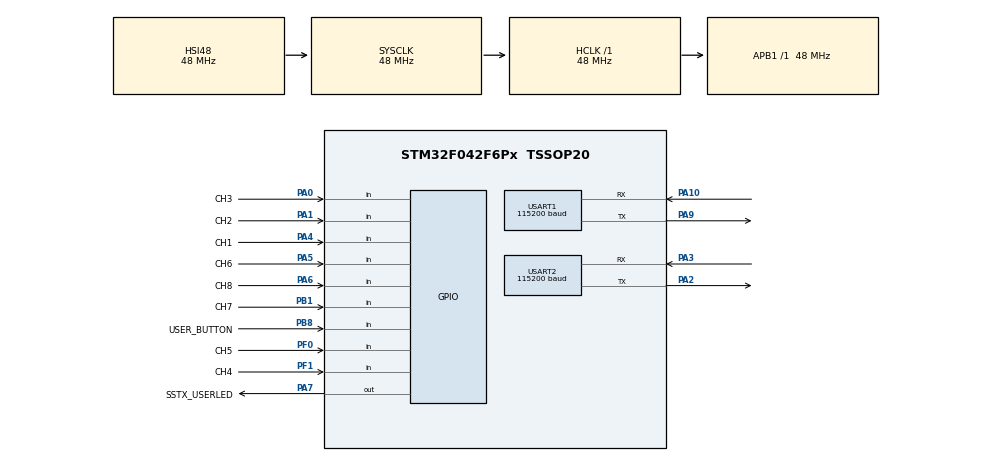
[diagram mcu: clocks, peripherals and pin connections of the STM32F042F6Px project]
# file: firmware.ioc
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Mcu.Family=STM32F0
Mcu.Name=STM32F042F6Px
Mcu.Package=TSSOP20
NVIC.TIM16_IRQn=true\:0\:0\:false\:false\:true\:true\:true\:true
NVIC.USART1_IRQn=true\:0\:0\:false\:false\:true\:true\:true\:true
NVIC.USART2_IRQn=true\:0\:0\:false\:false\:true\:true\:true\:true
PA0.GPIO_Label=CH3
PA0.GPIO_PuPd=GPIO_PULLUP
PA0.Signal=GPIO_Input
PA1.GPIO_Label=CH2
PA1.GPIO_PuPd=GPIO_PULLUP
PA1.Signal=GPIO_Input
PA10.Mode=Asynchronous
PA10.Signal=USART1_RX
PA13.Mode=Serial_Wire
PA13.Signal=SYS_SWDIO
PA14.Mode=Serial_Wire
PA14.Signal=SYS_SWCLK
PA2.Mode=Asynchronous
PA2.Signal=USART2_TX
PA3.Mode=Asynchronous
PA3.Signal=USART2_RX
PA4.GPIO_Label=CH1
PA4.GPIO_PuPd=GPIO_PULLUP
PA4.Signal=GPIO_Input
PA5.GPIO_Label=CH6
PA5.GPIO_PuPd=GPIO_PULLUP
PA5.Signal=GPIO_Input
PA6.GPIO_Label=CH8
PA6.GPIO_PuPd=GPIO_PULLUP
PA6.Signal=GPIO_Input
PA7.GPIO_Label=SSTX_USERLED
PA7.Signal=GPIO_Output
PA9.Mode=Asynchronous
PA9.Signal=USART1_TX
PB1.GPIO_Label=CH7
PB1.GPIO_PuPd=GPIO_PULLUP
PB1.Signal=GPIO_Input
PB8.GPIO_Label=USER_BUTTON
PB8.Signal=GPIO_Input
PF0-OSC_IN.GPIO_Label=CH5
PF0-OSC_IN.GPIO_PuPd=GPIO_PULLUP
PF0-OSC_IN.Signal=GPIO_Input
PF1-OSC_OUT.GPIO_Label=CH4
PF1-OSC_OUT.GPIO_PuPd=GPIO_PULLUP
PF1-OSC_OUT.Signal=GPIO_Input
ProjectManager.HeapSize=0x200
ProjectManager.StackSize=0x400
ProjectManager.TargetToolchain=MDK-ARM V5.32
RCC.AHBFreq_Value=48000000
RCC.APB1Freq_Value=48000000
RCC.APB1TimFreq_Value=48000000
RCC.HCLKFreq_Value=48000000
RCC.PLLSourceVirtual=RCC_PLLSOURCE_HSI48
RCC.SYSCLKFreq_VALUE=48000000
RCC.SYSCLKSource=RCC_SYSCLKSOURCE_HSI48
TIM16.Period=25000
TIM16.Prescaler=47
TIM2.Prescaler=47
USART1.BaudRate=115200
USART1.VirtualMode=VM_ASYNC
USART2.BaudRate=115200
USART2.VirtualMode-Asynchronous=VM_ASYNC
VP_TIM16_VS_ClockSourceINT.Mode=Enable_Timer
VP_TIM2_VS_ClockSourceINT.Mode=Internal
board=custom

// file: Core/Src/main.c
/* USER CODE BEGIN Header */
/**
  ******************************************************************************
  * @file           : main.c
  * @brief          : Main program body
  ******************************************************************************
  * @attention
  *
  * Copyright (c) 2023 STMicroelectronics.
  * All rights reserved.
  *
  * This software is licensed under terms that can be found in the LICENSE file
  * in the root directory of this software component.
  * If no LICENSE file comes with this software, it is provided AS-IS.
  *
  ******************************************************************************
  */
/* USER CODE END Header */
#include "main.h"

/* USER CODE BEGIN Includes */
#include <stdio.h>
#include <string.h>
#include <stdlib.h>
#include <time.h>
#include "buttons.h"
#include "cQueue.h"
#include "softserial.h"
#include "delay_us.h"

/* USER CODE END Includes */

/* USER CODE BEGIN PTD */
int stdin_getchar (void)
{
  return 0;
}

int stdout_putchar (int ch) {
  return 0;
}
void ttywrch (int ch) {
  return;
}
/* USER CODE END PTD */

/* USER CODE BEGIN PD */

/*
2024 08 12
0.0.1
first commit

2024 10 15
0.1.0
8 channels
LED double blinks with button press and upstream receive
*/
uint8_t fw_version_major = 0;
uint8_t fw_version_minor = 1;
uint8_t fw_version_patch = 0;

#define UART_BUF_SIZE 16

uint8_t towards_duckypad_tx_buf[UART_BUF_SIZE];
uint8_t towards_duckypad_rx_buf[UART_BUF_SIZE];
uint8_t away_from_duckypad_tx_buf[UART_BUF_SIZE];
uint8_t away_from_duckypad_rx_buf[UART_BUF_SIZE];

uint8_t starting_id;

volatile uint8_t current_state;

/* USER CODE END PD */

/* USER CODE BEGIN PM */
#define LED_ON() HAL_GPIO_WritePin(SSTX_USERLED_GPIO_Port, SSTX_USERLED_Pin, GPIO_PIN_SET)
#define LED_OFF() HAL_GPIO_WritePin(SSTX_USERLED_GPIO_Port, SSTX_USERLED_Pin, GPIO_PIN_RESET)
#define STATE_UNINITIALIZED 0
#define STATE_READY 1
/* USER CODE END PM */

TIM_HandleTypeDef htim2;
TIM_HandleTypeDef htim16;

UART_HandleTypeDef huart1;
UART_HandleTypeDef huart2;

/* USER CODE BEGIN PV */

#define towards_duckypad_uart (huart1)
#define away_from_duckypad_uart (huart2)

int fputc(int ch, FILE *f)
{
  // __disable_irq();
  // softserial_putc(ch);
  // __enable_irq();
  return ch;
}

void towards_duckypad_send(uint8_t data)
{
  HAL_UART_Transmit(&towards_duckypad_uart, &data, 1, 100);
  // printf("TDS:%02x\n", data);
}

void away_from_duckypad_send(uint8_t data)
{
  HAL_UART_Transmit(&away_from_duckypad_uart, &data, 1, 100);
  // printf("AFDS:%02x\n", data);
}

/* USER CODE END PV */

void SystemClock_Config(void);
static void MX_GPIO_Init(void);
static void MX_USART2_UART_Init(void);
static void MX_TIM2_Init(void);
static void MX_TIM16_Init(void);
static void MX_USART1_UART_Init(void);

/* USER CODE BEGIN 0 */

volatile uint32_t global_frame;
volatile uint32_t animation_start_frame;

void animation_handler(void)
{
  if(current_state != STATE_READY)
    return;
  global_frame++;
  uint32_t current_frame = global_frame - animation_start_frame;
  if(current_frame <= 2)
    LED_OFF();
  else if(current_frame <= 4)
    LED_ON();
  else if(current_frame <= 6)
    LED_OFF();
  else
    LED_ON();
}

// happens every 25ms
void HAL_TIM_PeriodElapsedCallback(TIM_HandleTypeDef *htim)
{
  animation_handler();
  channel_update(starting_id);
}

void double_blink(void)
{
  animation_start_frame = global_frame;
}

uint32_t get_rand_delay_ms(void)
{
  srand(micros());
  return 50 + (rand() % 16) * 10;
}

#define TOP_TWO_BITS 0xc0
#define CMD_ASK_START_ID_BITMASK 0x0
#define CMD_ASSIGN_START_ID_BITMASK 0x40

void towards_duckypad_receive_parse(uint8_t this_cmd)
{
  // printf("TDR:%02x\n", this_cmd);
  if(this_cmd & CMD_ASSIGN_START_ID_BITMASK)
  {
    starting_id = towards_duckypad_rx_buf[0] & 0x3f;
    current_state = STATE_READY;
    LED_ON();
    // printf("Got ID: %x\n", starting_id);
  }
}

void away_from_duckypad_receive_parse(uint8_t this_cmd)
{
  // printf("AFDR:%02x\n", this_cmd);
  uint8_t cmd_type = this_cmd & TOP_TWO_BITS;
  if(cmd_type == CMD_ASK_START_ID_BITMASK)
  {
    if(this_cmd & 0x7 != fw_version_major)
      return;
    if(current_state == STATE_UNINITIALIZED)
      return;
    uint8_t next_start_id = starting_id + CHANNEL_COUNT;
    if(next_start_id >= MAX_CHANNELS)
      return;
    away_from_duckypad_send(next_start_id | CMD_ASSIGN_START_ID_BITMASK);
  }
  else if(cmd_type == CMD_SW_PRESS_BITMASK || cmd_type == CMD_SW_RELEASE_BITMASK)
  {
    q_push(&switch_event_queue, &this_cmd);
  }
}

void HAL_UART_RxCpltCallback(UART_HandleTypeDef *huart)
{
  if(huart == &towards_duckypad_uart)
    towards_duckypad_receive_parse(towards_duckypad_rx_buf[0]);
  else
    away_from_duckypad_receive_parse(away_from_duckypad_rx_buf[0]);
}

#define UART_QUEUE_SEND_FREQ_MS 10

/* USER CODE END 0 */

int main(void)
{

  /* MCU Configuration--------------------------------------------------------*/

  /* Reset of all peripherals, Initializes the Flash interface and the Systick. */
  HAL_Init();

  /* Configure the system clock */
  SystemClock_Config();

  /* Initialize all configured peripherals */
  MX_GPIO_Init();
  MX_USART2_UART_Init();
  MX_TIM2_Init();
  MX_TIM16_Init();
  MX_USART1_UART_Init();
  /* USER CODE BEGIN 2 */
  delay_us_init(&htim2);
  // softserial_init(SOFTSERIAL_TX_GPIO_Port, SOFTSERIAL_TX_Pin);
  sw_event_queue_init();
  HAL_TIM_Base_Start_IT(&htim16);
  current_state = STATE_UNINITIALIZED;
  /* USER CODE END 2 */

  /* Infinite loop */
  /* USER CODE BEGIN WHILE */
  printf("duckyPad Pro Expansion Module v%d.%d.%d\n", fw_version_major, fw_version_minor, fw_version_patch);
  while (1)
  {
    HAL_UART_Receive_IT(&towards_duckypad_uart, towards_duckypad_rx_buf, 1);
    HAL_UART_Receive_IT(&away_from_duckypad_uart, away_from_duckypad_rx_buf, 1);
    /* USER CODE END WHILE */

    /* USER CODE BEGIN 3 */

    if(current_state == STATE_UNINITIALIZED)
    {
      HAL_Delay(get_rand_delay_ms());
      uint8_t cmd_ask_starting_id_towards_duckypad = fw_version_major & 0x3f;
      towards_duckypad_send(cmd_ask_starting_id_towards_duckypad);
      HAL_GPIO_TogglePin(SSTX_USERLED_GPIO_Port, SSTX_USERLED_Pin);
    }
    else
    {
      HAL_Delay(UART_QUEUE_SEND_FREQ_MS);
      uint8_t this_cmd;
      if(q_pop(&switch_event_queue, &this_cmd) == 0)
        continue;
      towards_duckypad_send(this_cmd);
      double_blink();
    }
  }
  /* USER CODE END 3 */
}

void SystemClock_Config(void)
{
  RCC_OscInitTypeDef RCC_OscInitStruct = {0};
  RCC_ClkInitTypeDef RCC_ClkInitStruct = {0};
  RCC_PeriphCLKInitTypeDef PeriphClkInit = {0};

  /** Initializes the RCC Oscillators according to the specified parameters
  * in the RCC_OscInitTypeDef structure.
  */
  RCC_OscInitStruct.OscillatorType = RCC_OSCILLATORTYPE_HSI48;
  RCC_OscInitStruct.HSI48State = RCC_HSI48_ON;
  RCC_OscInitStruct.PLL.PLLState = RCC_PLL_NONE;
  if (HAL_RCC_OscConfig(&RCC_OscInitStruct) != HAL_OK)
  {
    Error_Handler();
  }

  /** Initializes the CPU, AHB and APB buses clocks
  */
  RCC_ClkInitStruct.ClockType = RCC_CLOCKTYPE_HCLK|RCC_CLOCKTYPE_SYSCLK
                              |RCC_CLOCKTYPE_PCLK1;
  RCC_ClkInitStruct.SYSCLKSource = RCC_SYSCLKSOURCE_HSI48;
  RCC_ClkInitStruct.AHBCLKDivider = RCC_SYSCLK_DIV1;
  RCC_ClkInitStruct.APB1CLKDivider = RCC_HCLK_DIV1;

  if (HAL_RCC_ClockConfig(&RCC_ClkInitStruct, FLASH_LATENCY_1) != HAL_OK)
  {
    Error_Handler();
  }
  PeriphClkInit.PeriphClockSelection = RCC_PERIPHCLK_USART1;
  PeriphClkInit.Usart1ClockSelection = RCC_USART1CLKSOURCE_PCLK1;
  if (HAL_RCCEx_PeriphCLKConfig(&PeriphClkInit) != HAL_OK)
  {
    Error_Handler();
  }
}

static void MX_TIM2_Init(void)
{

  TIM_ClockConfigTypeDef sClockSourceConfig = {0};
  TIM_MasterConfigTypeDef sMasterConfig = {0};

  htim2.Instance = TIM2;
  htim2.Init.Prescaler = 47;
  htim2.Init.CounterMode = TIM_COUNTERMODE_UP;
  htim2.Init.Period = 4294967295;
  htim2.Init.ClockDivision = TIM_CLOCKDIVISION_DIV1;
  htim2.Init.AutoReloadPreload = TIM_AUTORELOAD_PRELOAD_DISABLE;
  if (HAL_TIM_Base_Init(&htim2) != HAL_OK)
  {
    Error_Handler();
  }
  sClockSourceConfig.ClockSource = TIM_CLOCKSOURCE_INTERNAL;
  if (HAL_TIM_ConfigClockSource(&htim2, &sClockSourceConfig) != HAL_OK)
  {
    Error_Handler();
  }
  sMasterConfig.MasterOutputTrigger = TIM_TRGO_RESET;
  sMasterConfig.MasterSlaveMode = TIM_MASTERSLAVEMODE_DISABLE;
  if (HAL_TIMEx_MasterConfigSynchronization(&htim2, &sMasterConfig) != HAL_OK)
  {
    Error_Handler();
  }

}

static void MX_TIM16_Init(void)
{

  htim16.Instance = TIM16;
  htim16.Init.Prescaler = 47;
  htim16.Init.CounterMode = TIM_COUNTERMODE_UP;
  htim16.Init.Period = 25000;
  htim16.Init.ClockDivision = TIM_CLOCKDIVISION_DIV1;
  htim16.Init.RepetitionCounter = 0;
  htim16.Init.AutoReloadPreload = TIM_AUTORELOAD_PRELOAD_DISABLE;
  if (HAL_TIM_Base_Init(&htim16) != HAL_OK)
  {
    Error_Handler();
  }

}

static void MX_USART1_UART_Init(void)
{

  huart1.Instance = USART1;
  huart1.Init.BaudRate = 115200;
  huart1.Init.WordLength = UART_WORDLENGTH_8B;
  huart1.Init.StopBits = UART_STOPBITS_1;
  huart1.Init.Parity = UART_PARITY_NONE;
  huart1.Init.Mode = UART_MODE_TX_RX;
  huart1.Init.HwFlowCtl = UART_HWCONTROL_NONE;
  huart1.Init.OverSampling = UART_OVERSAMPLING_16;
  huart1.Init.OneBitSampling = UART_ONE_BIT_SAMPLE_DISABLE;
  huart1.AdvancedInit.AdvFeatureInit = UART_ADVFEATURE_NO_INIT;
  if (HAL_UART_Init(&huart1) != HAL_OK)
  {
    Error_Handler();
  }

}

static void MX_USART2_UART_Init(void)
{

  huart2.Instance = USART2;
  huart2.Init.BaudRate = 115200;
  huart2.Init.WordLength = UART_WORDLENGTH_8B;
  huart2.Init.StopBits = UART_STOPBITS_1;
  huart2.Init.Parity = UART_PARITY_NONE;
  huart2.Init.Mode = UART_MODE_TX_RX;
  huart2.Init.HwFlowCtl = UART_HWCONTROL_NONE;
  huart2.Init.OverSampling = UART_OVERSAMPLING_16;
  huart2.Init.OneBitSampling = UART_ONE_BIT_SAMPLE_DISABLE;
  huart2.AdvancedInit.AdvFeatureInit = UART_ADVFEATURE_NO_INIT;
  if (HAL_UART_Init(&huart2) != HAL_OK)
  {
    Error_Handler();
  }

}

static void MX_GPIO_Init(void)
{
  GPIO_InitTypeDef GPIO_InitStruct = {0};

  /* GPIO Ports Clock Enable */
  __HAL_RCC_GPIOB_CLK_ENABLE();
  __HAL_RCC_GPIOF_CLK_ENABLE();
  __HAL_RCC_GPIOA_CLK_ENABLE();

  /*Configure GPIO pin Output Level */
  HAL_GPIO_WritePin(SSTX_USERLED_GPIO_Port, SSTX_USERLED_Pin, GPIO_PIN_RESET);

  /*Configure GPIO pin : USER_BUTTON_Pin */
  GPIO_InitStruct.Pin = USER_BUTTON_Pin;
  GPIO_InitStruct.Mode = GPIO_MODE_INPUT;
  GPIO_InitStruct.Pull = GPIO_NOPULL;
  HAL_GPIO_Init(USER_BUTTON_GPIO_Port, &GPIO_InitStruct);

  /*Configure GPIO pins : CH5_Pin CH4_Pin */
  GPIO_InitStruct.Pin = CH5_Pin|CH4_Pin;
  GPIO_InitStruct.Mode = GPIO_MODE_INPUT;
  GPIO_InitStruct.Pull = GPIO_PULLUP;
  HAL_GPIO_Init(GPIOF, &GPIO_InitStruct);

  /*Configure GPIO pins : CH3_Pin CH2_Pin CH1_Pin CH6_Pin
                           CH8_Pin */
  GPIO_InitStruct.Pin = CH3_Pin|CH2_Pin|CH1_Pin|CH6_Pin
                          |CH8_Pin;
  GPIO_InitStruct.Mode = GPIO_MODE_INPUT;
  GPIO_InitStruct.Pull = GPIO_PULLUP;
  HAL_GPIO_Init(GPIOA, &GPIO_InitStruct);

  /*Configure GPIO pin : SSTX_USERLED_Pin */
  GPIO_InitStruct.Pin = SSTX_USERLED_Pin;
  GPIO_InitStruct.Mode = GPIO_MODE_OUTPUT_PP;
  GPIO_InitStruct.Pull = GPIO_NOPULL;
  GPIO_InitStruct.Speed = GPIO_SPEED_FREQ_LOW;
  HAL_GPIO_Init(SSTX_USERLED_GPIO_Port, &GPIO_InitStruct);

  /*Configure GPIO pin : CH7_Pin */
  GPIO_InitStruct.Pin = CH7_Pin;
  GPIO_InitStruct.Mode = GPIO_MODE_INPUT;
  GPIO_InitStruct.Pull = GPIO_PULLUP;
  HAL_GPIO_Init(CH7_GPIO_Port, &GPIO_InitStruct);

}

void Error_Handler(void)
{
  __disable_irq();
  while (1)
  {
  }
}

#ifdef  USE_FULL_ASSERT
/**
  * @brief  Reports the name of the source file and the source line number
  *         where the assert_param error has occurred.
  * @param  file: pointer to the source file name
  * @param  line: assert_param error line source number
  * @retval None
  */
void assert_failed(uint8_t *file, uint32_t line)
{
  /* USER CODE BEGIN 6 */
  /* User can add his own implementation to report the file name and line number,
     ex: pdrintf("Wrong parameters value: file %s on line %d\r\n", file, line) */
  /* USER CODE END 6 */
}
#endif /* USE_FULL_ASSERT */
